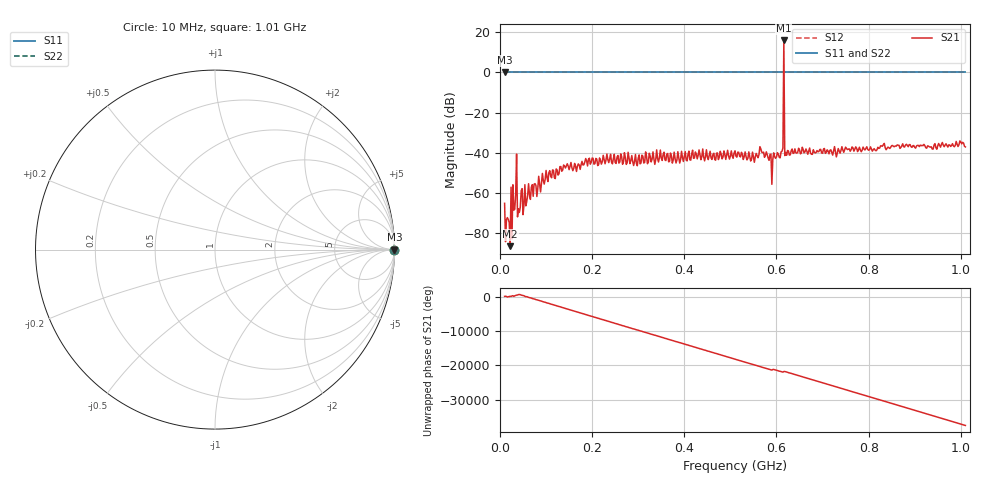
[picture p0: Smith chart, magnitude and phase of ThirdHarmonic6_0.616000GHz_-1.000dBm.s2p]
! 8/15/2025 8:14:03 PM
! C:\ANRITSUVNA\TEMP\TEMP.S2P
! CHANNEL.1
! TR.MEASUREMENT
! RAW.DATA
! RF.CORRECTION.OFF
! AVERAGING.OFF
! IF.BANDWIDTH: 5KHZ
! SWEEPTYPE:  FREQ.SWEEP(Linear)
! Reference Plane Port Info
! PORT:  PORT1  PORT2
! DISTANCE:  0  m  0  m
! TIME:  0  s  0  s
! PHASE.OFFSET:  0  deg.  0  deg.
! LOSS:  0  dB  0  dB
! REF.LOSS:  0  dB  0  dB
! REF.FREQ:  0  Hz  0  Hz
! Power Info
! POWER:  -20  dBm  -20  dBm
! EFF.POWER:  -20  dBm  -20  dBm
! SOURCE.ATTEN:  0  dB  0  dB
! TEST.ATTEN:  0  dB  0  dB
# GHZ S RI R 50.0
! FREQ.GHZ  S11RE  S11IM  S21RE  S21IM  S12RE  S12IM  S22RE  S22IM
!; PortSelection: Port_12
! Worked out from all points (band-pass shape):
!   501 points, 10 MHz to 1.01 GHz, reference 50 ohm
!   highest |S21| = 15.78 dB at 616 MHz (marker M1); lowest = -86.3 dB at 22 MHz (marker M2)
!   |S21| within 3 dB of the highest: 615.8876 MHz to 616.105 MHz (217.4 kHz wide, 0.0353 % of centre)
!   lowest |S11| = 0.0 dB at 10 MHz (marker M3)
!   |S11| at or under -10 dB: nowhere
!   |S22| runs from 0.0 to 0.0 dB; largest |S21 - S12| = 7.2
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0.01  1 0  -0.000397 0.000393  1 0  1 0
0.016  1 0  0.000152 -0.000194  1 0  1 0
0.022  1 0  -4.65e-05 1.26e-05  1 0  1 0
0.03  1 0  -0.000327 0.000189  1 0  1 0
0.032  1 0  0.000216 -0.000334  1 0  1 0
0.042  1 0  0.000185 -0.000275  1 0  1 0
0.05  1 0  0.00029 -3.41e-05  1 0  1 0
0.054  1 0  -0.00149 0.000625  1 0  1 0
0.104  1 0  0.00133 -0.00141  1 0  1 0
0.178  1 0  -0.00596 -0.00148  1 0  1 0
0.344  1 0  0.00591 0.000158  1 0  1 0
0.51  1 0  -0.0112 0.000445  1 0  1 0
0.568  1 0  0.00995 0.003  1 0  1 0
0.588  1 0  0.00268 -0.00881  1 0  1 0
0.61  1 0  -0.00994 0.0037  1 0  1 0
0.612  1 0  0.00627 0.0089  1 0  1 0
0.616  1 0  -6.151 0.0637  1 0  1 0
0.62  1 0  -0.00238 0.00995  1 0  1 0
0.622  1 0  0.00728 0.00472  1 0  1 0
0.678  1 0  0.00487 -0.00778  1 0  1 0
0.844  1 0  -0.00424 0.0127  1 0  1 0
1.01  1 0  0.00445 -0.0133  1 0  1 0
